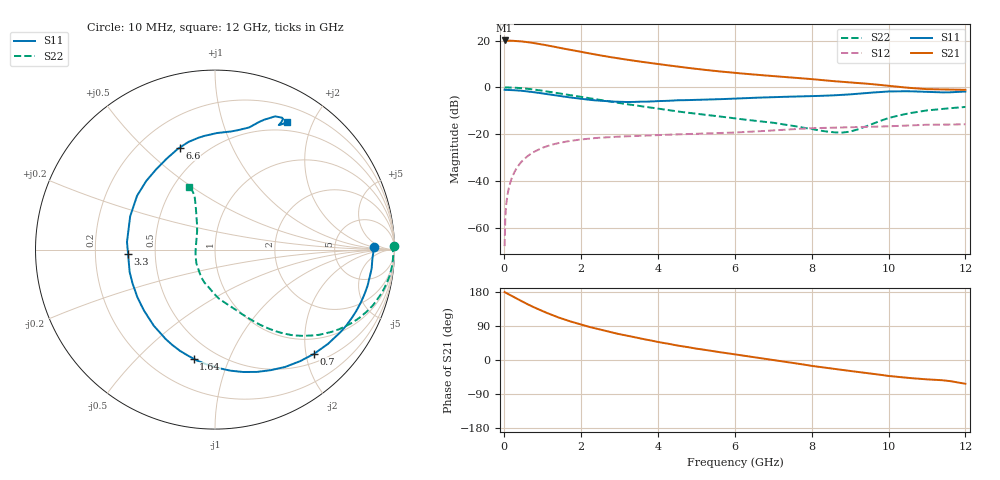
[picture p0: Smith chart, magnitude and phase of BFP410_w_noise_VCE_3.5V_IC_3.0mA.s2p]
! Infineon Technologies  Discrete & RF Semiconductors
! BFP410
! VCE =  3.5 V,  IC =  3.0 mA
! Common Emitter S-Parameters:  Nov 2015
# GHz  S  MA  R  50
!  f  S11  S21  S12  S22
! GHz  MAG  ANG  MAG  ANG  MAG  ANG  MAG  ANG
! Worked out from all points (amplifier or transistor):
!   243 points, 10 MHz to 12 GHz, reference 50 ohm
!   highest |S21| = 20.1 dB at 10 MHz (marker M1)
!   |S21| within 3 dB of that: start of sweep to 1.396 GHz
!   unconditionally stable (mu >= 1): 3.642 GHz to end of sweep
!   at 240 MHz: K = 0.08, MSG = 28.5 dB, |S12| = -37.1 dB
!   at 1.84 GHz: K = 0.47, MSG = 19.1 dB, |S12| = -22.6 dB
!   at 12 GHz: K = 1.10, MAG = 5.4 dB, |S12| = -15.8 dB
!   lowest NFmin = 0.87 dB at 900 MHz
!   S11 on the Smith chart (normalised r, x): 10 MHz: 16, +2; 700 MHz: 0.66, -2.16; 1.64 GHz: 0.38, -0.75; 3.3 GHz: 0.35, -0.02; 6.6 GHz: 0.36, +0.65; 12 GHz: 0.39, +1.64
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0.01  0.8864 0.9  10.06 179.2  0.0004 -6.9  0.9991 1.3
0.02  0.8831 -0.8  9.998 178.8  0.0011 83.1  0.9875 0.2
0.045  0.8793 -2.5  9.954 177.1  0.0027 80.0  0.9932 -0.9
0.155  0.8749 -10.3  9.947 171.3  0.009 83.2  0.9915 -5.0
0.36  0.8567 -24.2  9.744 160.3  0.0207 76.9  0.9718 -11.8
0.5  0.8362 -33.5  9.499 152.8  0.0282 72.5  0.9509 -16.3
0.7  0.8011 -46.5  9.047 142.7  0.0382 66.2  0.9129 -22.3
0.9  0.7618 -59.1  8.51 133.3  0.0469 60.2  0.8685 -27.8
1.1  0.72 -71.2  7.945 124.6  0.0546 54.9  0.8205 -32.8
1.4  0.66 -88.4  7.109 112.7  0.0638 47.7  0.749 -39.3
1.64  0.6194 -101.1  6.51 104.4  0.0697 42.9  0.6963 -43.6
2.02  0.5655 -119.9  5.667 93.0  0.077 36.6  0.622 -49.4
2.62  0.507 -148.7  4.638 76.9  0.0849 28.3  0.5154 -57.0
3.3  0.485 -177.1  3.787 62.1  0.0903 22.0  0.4236 -64.1
4.1  0.5095 155.9  3.076 45.9  0.0958 16.7  0.3399 -73.0
5  0.5412 135.1  2.478 30.0  0.1015 11.9  0.2729 -85.6
6.1  0.5781 116.3  2.004 13.4  0.109 7.7  0.2116 -99.9
6.6  0.6011 109.0  1.847 5.9  0.1143 6.0  0.1895 -108.9
8.2  0.6557 85.7  1.445 -18.2  0.1347 -4.1  0.1192 -152.9
9  0.7065 74.4  1.271 -28.9  0.1394 -9.4  0.1128 157.0
10.2  0.8192 64.4  1.038 -44.1  0.149 -15.5  0.2419 115.9
12  0.814 60.6  0.884 -62.7  0.1621 -29.4  0.3806 112.8
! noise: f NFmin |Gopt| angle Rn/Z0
0.45  0.92  0.39  6  0.24
0.9  0.87  0.38  20  0.22
1.8  1.07  0.29  53  0.19
2.4  1.11  0.25  58  0.19
5.5  2.12  0.33  -139  0.2
10  3.64  0.68  -55  1.98
